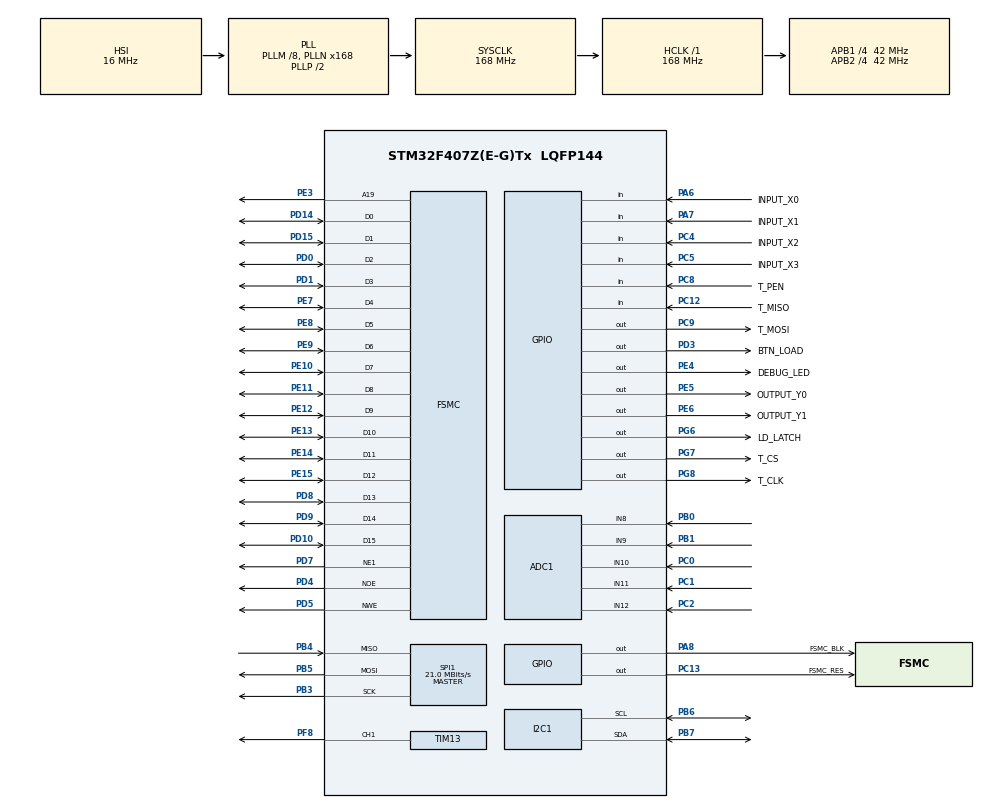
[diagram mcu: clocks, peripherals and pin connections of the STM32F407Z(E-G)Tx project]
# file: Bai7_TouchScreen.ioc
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ADC1.Channel-0\#ChannelRegularConversion=ADC_CHANNEL_8
ADC1.Channel-1\#ChannelRegularConversion=ADC_CHANNEL_9
ADC1.Channel-2\#ChannelRegularConversion=ADC_CHANNEL_10
ADC1.Channel-3\#ChannelRegularConversion=ADC_CHANNEL_11
ADC1.Channel-4\#ChannelRegularConversion=ADC_CHANNEL_12
ADC1.NbrOfConversion=5
ADC1.NbrOfConversionFlag=1
ADC1.Rank-0\#ChannelRegularConversion=1
ADC1.Rank-1\#ChannelRegularConversion=2
ADC1.Rank-2\#ChannelRegularConversion=3
ADC1.Rank-3\#ChannelRegularConversion=4
ADC1.Rank-4\#ChannelRegularConversion=5
ADC1.SamplingTime-0\#ChannelRegularConversion=ADC_SAMPLETIME_3CYCLES
ADC1.SamplingTime-1\#ChannelRegularConversion=ADC_SAMPLETIME_3CYCLES
ADC1.SamplingTime-2\#ChannelRegularConversion=ADC_SAMPLETIME_3CYCLES
ADC1.SamplingTime-3\#ChannelRegularConversion=ADC_SAMPLETIME_3CYCLES
ADC1.SamplingTime-4\#ChannelRegularConversion=ADC_SAMPLETIME_3CYCLES
ADC1.ScanConvMode=ENABLE
ADC1.master=1
Dma.ADC1.0.Direction=DMA_PERIPH_TO_MEMORY
Dma.ADC1.0.FIFOMode=DMA_FIFOMODE_DISABLE
Dma.ADC1.0.Instance=DMA2_Stream0
Dma.ADC1.0.MemDataAlignment=DMA_MDATAALIGN_HALFWORD
Dma.ADC1.0.MemInc=DMA_MINC_ENABLE
Dma.ADC1.0.Mode=DMA_CIRCULAR
Dma.ADC1.0.PeriphDataAlignment=DMA_PDATAALIGN_HALFWORD
Dma.ADC1.0.PeriphInc=DMA_PINC_DISABLE
Dma.ADC1.0.Priority=DMA_PRIORITY_LOW
Dma.Request0=ADC1
FSMC.AddressSetupTime1=0xf
FSMC.BusTurnAroundDuration1=0
FSMC.DataSetupTime1=60
FSMC.ExtendedAddressSetupTime1=8
FSMC.ExtendedBusTurnAroundDuration1=0
FSMC.ExtendedDataSetupTime1=9
FSMC.ExtendedMode1=FSMC_EXTENDED_MODE_ENABLE
I2C1.I2C_Mode=I2C_Standard
Mcu.Family=STM32F4
Mcu.Name=STM32F407Z(E-G)Tx
Mcu.Package=LQFP144
NVIC.DMA2_Stream0_IRQn=true\:0\:0\:false\:false\:true\:false\:true\:true
NVIC.PriorityGroup=NVIC_PRIORITYGROUP_4
NVIC.TIM2_IRQn=true\:0\:0\:false\:false\:true\:true\:true\:true
PA13.Mode=Serial_Wire
PA13.Signal=SYS_JTMS-SWDIO
PA14.Mode=Serial_Wire
PA14.Signal=SYS_JTCK-SWCLK
PA6.GPIO_Label=INPUT_X0
PA6.Signal=GPIO_Input
PA7.GPIO_Label=INPUT_X1
PA7.Signal=GPIO_Input
PA8.GPIO_Label=FSMC_BLK
PA8.Signal=GPIO_Output
PB0.Signal=ADCx_IN8
PB1.Signal=ADCx_IN9
PB3.Mode=Full_Duplex_Master
PB3.Signal=SPI1_SCK
PB4.Mode=Full_Duplex_Master
PB4.Signal=SPI1_MISO
PB5.Mode=Full_Duplex_Master
PB5.Signal=SPI1_MOSI
PB6.Mode=I2C
PB6.Signal=I2C1_SCL
PB7.Mode=I2C
PB7.Signal=I2C1_SDA
PC0.Signal=ADCx_IN10
PC1.Signal=ADCx_IN11
PC12.GPIO_Label=T_MISO
PC12.GPIO_PuPd=GPIO_PULLUP
PC12.Signal=GPIO_Input
PC13-ANTI_TAMP.GPIO_Label=FSMC_RES
PC13-ANTI_TAMP.Signal=GPIO_Output
PC2.Signal=ADCx_IN12
PC4.GPIO_Label=INPUT_X2
PC4.Signal=GPIO_Input
PC5.GPIO_Label=INPUT_X3
PC5.Signal=GPIO_Input
PC8.GPIO_Label=T_PEN
PC8.GPIO_PuPd=GPIO_PULLUP
PC8.Signal=GPIO_Input
PC9.GPIO_Label=T_MOSI
PC9.Signal=GPIO_Output
PD0.Signal=FSMC_D2_DA2
PD1.Signal=FSMC_D3_DA3
PD10.Signal=FSMC_D15_DA15
PD14.Signal=FSMC_D0_DA0
PD15.Signal=FSMC_D1_DA1
PD3.GPIO_Label=BTN_LOAD
PD3.Signal=GPIO_Output
PD4.Signal=FSMC_NOE
PD5.Signal=FSMC_NWE
PD7.Mode=NorPsramChipSelect1_1
PD7.Signal=FSMC_NE1
PD8.Signal=FSMC_D13_DA13
PD9.Signal=FSMC_D14_DA14
PE10.Signal=FSMC_D7_DA7
PE11.Signal=FSMC_D8_DA8
PE12.Signal=FSMC_D9_DA9
PE13.Signal=FSMC_D10_DA10
PE14.Signal=FSMC_D11_DA11
PE15.Signal=FSMC_D12_DA12
PE3.Signal=FSMC_A19
PE4.GPIO_Label=DEBUG_LED
PE4.Signal=GPIO_Output
PE5.GPIO_Label=OUTPUT_Y0
PE5.Signal=GPIO_Output
PE6.GPIO_Label=OUTPUT_Y1
PE6.Signal=GPIO_Output
PE7.Signal=FSMC_D4_DA4
PE8.Signal=FSMC_D5_DA5
PE9.Signal=FSMC_D6_DA6
PF8.Signal=S_TIM13_CH1
PG6.GPIO_Label=LD_LATCH
PG6.Signal=GPIO_Output
PG7.GPIO_Label=T_CS
PG7.Signal=GPIO_Output
PG8.GPIO_Label=T_CLK
PG8.Signal=GPIO_Output
PH0-OSC_IN.Mode=HSE-External-Oscillator
PH0-OSC_IN.Signal=RCC_OSC_IN
PH1-OSC_OUT.Mode=HSE-External-Oscillator
PH1-OSC_OUT.Signal=RCC_OSC_OUT
ProjectManager.HeapSize=0x200
ProjectManager.StackSize=0x400
ProjectManager.TargetToolchain=STM32CubeIDE
RCC.48MHZClocksFreq_Value=84000000
RCC.AHBFreq_Value=168000000
RCC.APB1CLKDivider=RCC_HCLK_DIV4
RCC.APB1Freq_Value=42000000
RCC.APB1TimFreq_Value=84000000
RCC.APB2CLKDivider=RCC_HCLK_DIV4
RCC.APB2Freq_Value=42000000
RCC.APB2TimFreq_Value=84000000
RCC.CortexFreq_Value=168000000
RCC.HCLKFreq_Value=168000000
RCC.HSE_VALUE=8000000
RCC.HSI_VALUE=16000000
RCC.LSE_VALUE=32768
RCC.PLLM=8
RCC.PLLN=168
RCC.SYSCLKFreq_VALUE=168000000
RCC.SYSCLKSource=RCC_SYSCLKSOURCE_PLLCLK
RCC.VCOOutputFreq_Value=336000000
SH.ADCx_IN10.0=ADC1_IN10,IN10
SH.ADCx_IN11.0=ADC1_IN11,IN11
SH.ADCx_IN12.0=ADC1_IN12,IN12
SH.ADCx_IN8.0=ADC1_IN8,IN8
SH.ADCx_IN9.0=ADC1_IN9,IN9
SH.FSMC_A19.0=FSMC_A19,A19_1
SH.FSMC_D0_DA0.0=FSMC_D0,16b-d1
SH.FSMC_D10_DA10.0=FSMC_D10,16b-d1
SH.FSMC_D11_DA11.0=FSMC_D11,16b-d1
SH.FSMC_D12_DA12.0=FSMC_D12,16b-d1
SH.FSMC_D13_DA13.0=FSMC_D13,16b-d1
SH.FSMC_D14_DA14.0=FSMC_D14,16b-d1
SH.FSMC_D15_DA15.0=FSMC_D15,16b-d1
SH.FSMC_D1_DA1.0=FSMC_D1,16b-d1
SH.FSMC_D2_DA2.0=FSMC_D2,16b-d1
SH.FSMC_D3_DA3.0=FSMC_D3,16b-d1
SH.FSMC_D4_DA4.0=FSMC_D4,16b-d1
SH.FSMC_D5_DA5.0=FSMC_D5,16b-d1
SH.FSMC_D6_DA6.0=FSMC_D6,16b-d1
SH.FSMC_D7_DA7.0=FSMC_D7,16b-d1
SH.FSMC_D8_DA8.0=FSMC_D8,16b-d1
SH.FSMC_D9_DA9.0=FSMC_D9,16b-d1
SH.FSMC_NOE.0=FSMC_NOE,Lcd1
SH.FSMC_NWE.0=FSMC_NWE,Lcd1
SH.S_TIM13_CH1.0=TIM13_CH1,PWM Generation1 CH1
SPI1.BaudRatePrescaler=SPI_BAUDRATEPRESCALER_2
SPI1.CalculateBaudRate=21.0 MBits/s
SPI1.Direction=SPI_DIRECTION_2LINES
SPI1.Mode=SPI_MODE_MASTER
SPI1.VirtualType=VM_MASTER
TIM1.Prescaler=84-1
TIM13.Channel=TIM_CHANNEL_1
TIM13.Period=100-1
TIM13.Prescaler=840-1
TIM2.Period=100-1
TIM2.Prescaler=840-1
VP_TIM13_VS_ClockSourceINT.Mode=Enable_Timer
VP_TIM1_VS_ClockSourceINT.Mode=Internal
VP_TIM2_VS_ClockSourceINT.Mode=Internal
board=custom

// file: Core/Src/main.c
/* USER CODE BEGIN Header */
/**
 ******************************************************************************
 * @file           : main.c
 * @brief          : Main program body
 ******************************************************************************
 * @attention
 *
 * <h2><center>&copy; Copyright (c) 2023 STMicroelectronics.
 * All rights reserved.</center></h2>
 *
 * This software component is licensed by ST under BSD 3-Clause license,
 * the "License"; You may not use this file except in compliance with the
 * License. You may obtain a copy of the License at:
 *                        opensource.org/licenses/BSD-3-Clause
 *
 ******************************************************************************
 */
/* USER CODE END Header */
#include "main.h"

#include "adc.h"
#include "dma.h"
#include "fsmc.h"
#include "game.h"
#include "gpio.h"
#include "i2c.h"
#include "spi.h"
#include "tim.h"

/* USER CODE BEGIN Includes */
#include "button.h"
#include "buzzer.h"
#include "ds3231.h"
#include "lcd.h"
#include "led_7seg.h"
#include "picture.h"
#include "sensor.h"
#include "software_timer.h"
#include "touch.h"

/* USER CODE END Includes */

/* USER CODE BEGIN PV */
#define INIT 0
#define DRAW 1
#define CLEAR 2

int draw_Status = INIT;
/* USER CODE END PV */

void SystemClock_Config(void);
/* USER CODE BEGIN PFP */
void system_init();
void test_LedDebug();
void touchProcess();
uint8_t isButtonClear();
/* USER CODE END PFP */

int main(void) {

  /* MCU Configuration--------------------------------------------------------*/

  /* Reset of all peripherals, Initializes the Flash interface and the Systick.
   */
  HAL_Init();

  /* Configure the system clock */
  SystemClock_Config();

  /* Initialize all configured peripherals */
  MX_GPIO_Init();
  MX_DMA_Init();
  MX_SPI1_Init();
  MX_FSMC_Init();
  MX_I2C1_Init();
  MX_TIM13_Init();
  MX_TIM2_Init();
  MX_ADC1_Init();
  MX_TIM1_Init();
  /* USER CODE BEGIN 2 */
  system_init();
  /* USER CODE END 2 */

  /* Infinite loop */
  /* USER CODE BEGIN WHILE */
  touch_Adjust();
  lcd_Clear(BLACK);
  while (1) {
    // scan touch screen
    touch_Scan();
    // check if touch screen is touched
    // if (touch_IsTouched() && draw_Status == DRAW) {
    // 	// draw a point at the touch position
    // 	lcd_DrawPoint(touch_GetX(), touch_GetY(), RED);
    // }
    // 50ms task
    // if (flag_timer2 == 1) {
    // 	flag_timer2 = 0;
    // 	top();
    // 	// touchProcess();
    // 	// test_LedDebug();
    // }
    while (!flag_timer2)
      ;
    flag_timer2 = 0;
	top();

    /* USER CODE END WHILE */

  }
}

void SystemClock_Config(void) {
  RCC_OscInitTypeDef RCC_OscInitStruct = {0};
  RCC_ClkInitTypeDef RCC_ClkInitStruct = {0};

  /** Configure the main internal regulator output voltage
   */
  __HAL_RCC_PWR_CLK_ENABLE();
  __HAL_PWR_VOLTAGESCALING_CONFIG(PWR_REGULATOR_VOLTAGE_SCALE1);

  /** Initializes the RCC Oscillators according to the specified parameters
   * in the RCC_OscInitTypeDef structure.
   */
  RCC_OscInitStruct.OscillatorType = RCC_OSCILLATORTYPE_HSI;
  RCC_OscInitStruct.HSIState = RCC_HSI_ON;
  RCC_OscInitStruct.HSICalibrationValue = RCC_HSICALIBRATION_DEFAULT;
  RCC_OscInitStruct.PLL.PLLState = RCC_PLL_ON;
  RCC_OscInitStruct.PLL.PLLSource = RCC_PLLSOURCE_HSI;
  RCC_OscInitStruct.PLL.PLLM = 8;
  RCC_OscInitStruct.PLL.PLLN = 168;
  RCC_OscInitStruct.PLL.PLLP = RCC_PLLP_DIV2;
  RCC_OscInitStruct.PLL.PLLQ = 4;
  if (HAL_RCC_OscConfig(&RCC_OscInitStruct) != HAL_OK) {
    Error_Handler();
  }

  /** Initializes the CPU, AHB and APB buses clocks
   */
  RCC_ClkInitStruct.ClockType = RCC_CLOCKTYPE_HCLK | RCC_CLOCKTYPE_SYSCLK |
                                RCC_CLOCKTYPE_PCLK1 | RCC_CLOCKTYPE_PCLK2;
  RCC_ClkInitStruct.SYSCLKSource = RCC_SYSCLKSOURCE_PLLCLK;
  RCC_ClkInitStruct.AHBCLKDivider = RCC_SYSCLK_DIV1;
  RCC_ClkInitStruct.APB1CLKDivider = RCC_HCLK_DIV4;
  RCC_ClkInitStruct.APB2CLKDivider = RCC_HCLK_DIV4;

  if (HAL_RCC_ClockConfig(&RCC_ClkInitStruct, FLASH_LATENCY_5) != HAL_OK) {
    Error_Handler();
  }
}

/* USER CODE BEGIN 4 */
void system_init() {
  timer_init();
  button_init();
  lcd_init();
  touch_init();
  setTimer2(50);
}

uint8_t count_led_debug = 0;

void test_LedDebug() {
  count_led_debug = (count_led_debug + 1) % 20;
  if (count_led_debug == 0) {
    HAL_GPIO_TogglePin(DEBUG_LED_GPIO_Port, DEBUG_LED_Pin);
  }
}

uint8_t isButtonClear() {
  if (!touch_IsTouched()) return 0;
  return touch_GetX() > 60 && touch_GetX() < 180 && touch_GetY() > 10 &&
         touch_GetY() < 60;
}

void touchProcess() {
  switch (draw_Status) {
    case INIT:
      // display blue button
      lcd_Fill(60, 10, 180, 60, GBLUE);
      lcd_ShowStr(90, 20, "CLEAR", RED, BLACK, 24, 1);
      draw_Status = DRAW;
      break;
    case DRAW:
      if (isButtonClear()) {
        draw_Status = CLEAR;
        // clear board
        lcd_Fill(0, 60, 240, 320, BLACK);
        // display green button
        lcd_Fill(60, 10, 180, 60, GREEN);
        lcd_ShowStr(90, 20, "CLEAR", RED, BLACK, 24, 1);
      }
      break;
    case CLEAR:
      if (!touch_IsTouched()) draw_Status = INIT;
      break;
    default:
      break;
  }
}
/* USER CODE END 4 */

void Error_Handler(void) {
  __disable_irq();
  while (1) {
  }
}

#ifdef USE_FULL_ASSERT
/**
 * @brief  Reports the name of the source file and the source line number
 *         where the assert_param error has occurred.
 * @param  file: pointer to the source file name
 * @param  line: assert_param error line source number
 * @retval None
 */
void assert_failed(uint8_t *file, uint32_t line) {
  /* USER CODE BEGIN 6 */
  /* User can add his own implementation to report the file name and line
     number, ex: printf("Wrong parameters value: file %s on line %d\r\n", file,
     line) */
  /* USER CODE END 6 */
}
#endif /* USE_FULL_ASSERT */
